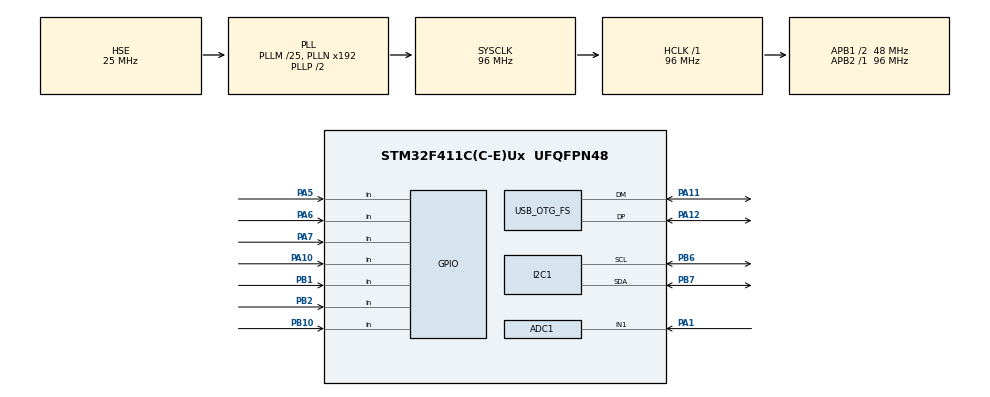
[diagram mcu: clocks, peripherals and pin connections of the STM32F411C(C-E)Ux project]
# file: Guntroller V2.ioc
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ADC1.Channel-4\#ChannelRegularConversion=ADC_CHANNEL_1
ADC1.NbrOfConversionFlag=1
ADC1.Rank-4\#ChannelRegularConversion=1
ADC1.SamplingTime-4\#ChannelRegularConversion=ADC_SAMPLETIME_3CYCLES
ADC1.master=1
Dma.I2C1_RX.0.Direction=DMA_PERIPH_TO_MEMORY
Dma.I2C1_RX.0.FIFOMode=DMA_FIFOMODE_DISABLE
Dma.I2C1_RX.0.Instance=DMA1_Stream0
Dma.I2C1_RX.0.MemDataAlignment=DMA_MDATAALIGN_BYTE
Dma.I2C1_RX.0.MemInc=DMA_MINC_ENABLE
Dma.I2C1_RX.0.Mode=DMA_NORMAL
Dma.I2C1_RX.0.PeriphDataAlignment=DMA_PDATAALIGN_BYTE
Dma.I2C1_RX.0.PeriphInc=DMA_PINC_DISABLE
Dma.I2C1_RX.0.Priority=DMA_PRIORITY_LOW
Dma.Request0=I2C1_RX
I2C1.I2C_Mode=I2C_Fast
Mcu.Family=STM32F4
Mcu.Name=STM32F411C(C-E)Ux
Mcu.Package=UFQFPN48
NVIC.DMA1_Stream0_IRQn=true\:0\:0\:false\:false\:true\:false\:true\:true
NVIC.I2C1_ER_IRQn=true\:0\:0\:false\:false\:true\:true\:true\:true
NVIC.I2C1_EV_IRQn=true\:0\:0\:false\:false\:true\:true\:true\:true
NVIC.OTG_FS_IRQn=true\:0\:0\:false\:false\:true\:false\:true\:true
NVIC.PriorityGroup=NVIC_PRIORITYGROUP_4
PA1.Signal=ADCx_IN1
PA10.GPIO_PuPd=GPIO_PULLUP
PA10.Signal=GPIO_Input
PA11.Mode=Device_Only
PA11.Signal=USB_OTG_FS_DM
PA12.Mode=Device_Only
PA12.Signal=USB_OTG_FS_DP
PA13.Mode=Serial_Wire
PA13.Signal=SYS_JTMS-SWDIO
PA14.Mode=Serial_Wire
PA14.Signal=SYS_JTCK-SWCLK
PA5.GPIO_PuPd=GPIO_PULLUP
PA5.Signal=GPIO_Input
PA6.GPIO_PuPd=GPIO_PULLUP
PA6.Signal=GPIO_Input
PA7.GPIO_PuPd=GPIO_PULLUP
PA7.Signal=GPIO_Input
PB1.GPIO_PuPd=GPIO_PULLUP
PB1.Signal=GPIO_Input
PB10.GPIO_PuPd=GPIO_PULLUP
PB10.Signal=GPIO_Input
PB2.GPIO_PuPd=GPIO_PULLUP
PB2.Signal=GPIO_Input
PB6.GPIO_Pu=GPIO_PULLUP
PB6.Mode=I2C
PB6.Signal=I2C1_SCL
PB7.GPIO_Pu=GPIO_PULLUP
PB7.Mode=I2C
PB7.Signal=I2C1_SDA
PH0\ -\ OSC_IN.Mode=HSE-External-Oscillator
PH0\ -\ OSC_IN.Signal=RCC_OSC_IN
PH1\ -\ OSC_OUT.Mode=HSE-External-Oscillator
PH1\ -\ OSC_OUT.Signal=RCC_OSC_OUT
ProjectManager.HeapSize=0x200
ProjectManager.StackSize=0x400
ProjectManager.TargetToolchain=STM32CubeIDE
RCC.48MHZClocksFreq_Value=48000000
RCC.AHBFreq_Value=96000000
RCC.APB1CLKDivider=RCC_HCLK_DIV2
RCC.APB1Freq_Value=48000000
RCC.APB1TimFreq_Value=96000000
RCC.APB2Freq_Value=96000000
RCC.APB2TimFreq_Value=96000000
RCC.CortexFreq_Value=96000000
RCC.HCLKFreq_Value=96000000
RCC.HSE_VALUE=25000000
RCC.HSI_VALUE=16000000
RCC.LSE_VALUE=32768
RCC.PLLM=25
RCC.SYSCLKFreq_VALUE=96000000
RCC.SYSCLKSource=RCC_SYSCLKSOURCE_PLLCLK
RCC.VCOOutputFreq_Value=192000000
SH.ADCx_IN1.0=ADC1_IN1,IN1
USB_DEVICE.CLASS_NAME_FS=HID
USB_DEVICE.VirtualMode=Hid
USB_DEVICE.VirtualModeFS=Hid_FS
USB_OTG_FS.VirtualMode=Device_Only
VP_USB_DEVICE_VS_USB_DEVICE_HID_FS.Mode=HID_FS
board=custom

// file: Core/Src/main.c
/* USER CODE BEGIN Header */
/**
  ******************************************************************************
  * @file           : main.c
  * @brief          : Main program body
  ******************************************************************************
  * @attention
  *
  * Copyright (c) 2025 STMicroelectronics.
  * All rights reserved.
  *
  * This software is licensed under terms that can be found in the LICENSE file
  * in the root directory of this software component.
  * If no LICENSE file comes with this software, it is provided AS-IS.
  *
  ******************************************************************************
  */
/* USER CODE END Header */
#include "main.h"
#include "usb_device.h"

/* USER CODE BEGIN Includes */
#include "mpu6050.h"
#include "usbd_hid.h"
#include "stdio.h"
#include "math.h"
/* USER CODE END Includes */

/* USER CODE BEGIN PD */
extern USBD_HandleTypeDef hUsbDeviceFS;
typedef struct {
	uint8_t buttonStatus;
    int8_t xMovement;
    int8_t yMovement;
    int8_t scroll;
} mouseReport;

mouseReport reportData = {0, 0, 0, 0};

void sendReportMouse(uint8_t buttons, int8_t x, int8_t y, int8_t scroll) {

	reportData.buttonStatus = buttons;
	reportData.xMovement = x;
	reportData.yMovement = y;
	reportData.scroll = scroll;

    USBD_HID_SendReport(&hUsbDeviceFS, (uint8_t*)&reportData, sizeof(mouseReport));
}

/* USER CODE END PD */

ADC_HandleTypeDef hadc1;

I2C_HandleTypeDef hi2c1;
DMA_HandleTypeDef hdma_i2c1_rx;

void SystemClock_Config(void);
static void MX_GPIO_Init(void);
static void MX_DMA_Init(void);
static void MX_ADC1_Init(void);
static void MX_I2C1_Init(void);

int main(void)
{

  /* MCU Configuration--------------------------------------------------------*/

  /* Reset of all peripherals, Initializes the Flash interface and the Systick. */
  HAL_Init();

  /* Configure the system clock */
  SystemClock_Config();

  /* Initialize all configured peripherals */
  MX_GPIO_Init();
  MX_DMA_Init();
  MX_ADC1_Init();
  MX_I2C1_Init();
  MX_USB_DEVICE_Init();
  /* USER CODE BEGIN 2 */
  MPU6050_init();
  extern float Gy, Gz;
  int buttonStatus = 0;

  int scrollStatus = 0;

  /* USER CODE END 2 */

  /* Infinite loop */
  while (1)
  {

    /* USER CODE BEGIN 3 */
	  MPU6050_Read_Values();
	  HAL_ADC_Start(&hadc1);
	  int leftClickStatus = HAL_GPIO_ReadPin(GPIOA, GPIO_PIN_10);
	  int rightClickStatus = HAL_GPIO_ReadPin(GPIOB, GPIO_PIN_10);
	  int precisionMode = HAL_GPIO_ReadPin(GPIOA, GPIO_PIN_7);
	  int reset = HAL_GPIO_ReadPin(GPIOA, GPIO_PIN_6);
	  int quickMode = HAL_GPIO_ReadPin(GPIOA, GPIO_PIN_5);
	  int scrollUp = HAL_GPIO_ReadPin(GPIOB, GPIO_PIN_1);
	  int scrollDown = HAL_GPIO_ReadPin(GPIOB, GPIO_PIN_2);

	  float sensitivity = HAL_ADC_GetValue(&hadc1);
	  float sens = 0.5 + ((sensitivity/4096)*5);

	  float Gz1 = Gz / sens;
	  float Gy1 = Gy / sens;

	  if(leftClickStatus == 0){
		 buttonStatus = 0x01;
	  } else if(rightClickStatus == 0){
			 buttonStatus = 0x02;
		  } else {
		  buttonStatus = 0x00;
	  }

	  if(scrollUp == 0){
		  scrollStatus = 1;
	  } else if(scrollDown == 0){
		  scrollStatus = -1;
	  }		else{
		  scrollStatus = 0;
	  }

	  if(precisionMode == 0){
		  Gy1 = Gy1*0.5;
		  Gz1 = Gz1*0.5;
	  }
	  else if(reset == 0){
		  Gy1 = 0;
		  Gz1 = 0;
	  }
	  else if(quickMode == 0){
		  Gy1 = 2*Gy1;
		  Gz1 = 2*Gz1;
	  }
	  else {
		  Gy1 = Gy1;
		  Gz1 = Gz1;
	  }

	  sendReportMouse(buttonStatus, -Gz1, Gy1, scrollStatus);

  }
  /* USER CODE END 3 */
}

void SystemClock_Config(void)
{
  RCC_OscInitTypeDef RCC_OscInitStruct = {0};
  RCC_ClkInitTypeDef RCC_ClkInitStruct = {0};

  /** Configure the main internal regulator output voltage
  */
  __HAL_RCC_PWR_CLK_ENABLE();
  __HAL_PWR_VOLTAGESCALING_CONFIG(PWR_REGULATOR_VOLTAGE_SCALE1);

  /** Initializes the RCC Oscillators according to the specified parameters
  * in the RCC_OscInitTypeDef structure.
  */
  RCC_OscInitStruct.OscillatorType = RCC_OSCILLATORTYPE_HSE;
  RCC_OscInitStruct.HSEState = RCC_HSE_ON;
  RCC_OscInitStruct.PLL.PLLState = RCC_PLL_ON;
  RCC_OscInitStruct.PLL.PLLSource = RCC_PLLSOURCE_HSE;
  RCC_OscInitStruct.PLL.PLLM = 25;
  RCC_OscInitStruct.PLL.PLLN = 192;
  RCC_OscInitStruct.PLL.PLLP = RCC_PLLP_DIV2;
  RCC_OscInitStruct.PLL.PLLQ = 4;
  if (HAL_RCC_OscConfig(&RCC_OscInitStruct) != HAL_OK)
  {
    Error_Handler();
  }

  /** Initializes the CPU, AHB and APB buses clocks
  */
  RCC_ClkInitStruct.ClockType = RCC_CLOCKTYPE_HCLK|RCC_CLOCKTYPE_SYSCLK
                              |RCC_CLOCKTYPE_PCLK1|RCC_CLOCKTYPE_PCLK2;
  RCC_ClkInitStruct.SYSCLKSource = RCC_SYSCLKSOURCE_PLLCLK;
  RCC_ClkInitStruct.AHBCLKDivider = RCC_SYSCLK_DIV1;
  RCC_ClkInitStruct.APB1CLKDivider = RCC_HCLK_DIV2;
  RCC_ClkInitStruct.APB2CLKDivider = RCC_HCLK_DIV1;

  if (HAL_RCC_ClockConfig(&RCC_ClkInitStruct, FLASH_LATENCY_3) != HAL_OK)
  {
    Error_Handler();
  }
}

static void MX_ADC1_Init(void)
{

  ADC_ChannelConfTypeDef sConfig = {0};

  /** Configure the global features of the ADC (Clock, Resolution, Data Alignment and number of conversion)
  */
  hadc1.Instance = ADC1;
  hadc1.Init.ClockPrescaler = ADC_CLOCK_SYNC_PCLK_DIV4;
  hadc1.Init.Resolution = ADC_RESOLUTION_12B;
  hadc1.Init.ScanConvMode = DISABLE;
  hadc1.Init.ContinuousConvMode = DISABLE;
  hadc1.Init.DiscontinuousConvMode = DISABLE;
  hadc1.Init.ExternalTrigConvEdge = ADC_EXTERNALTRIGCONVEDGE_NONE;
  hadc1.Init.ExternalTrigConv = ADC_SOFTWARE_START;
  hadc1.Init.DataAlign = ADC_DATAALIGN_RIGHT;
  hadc1.Init.NbrOfConversion = 1;
  hadc1.Init.DMAContinuousRequests = DISABLE;
  hadc1.Init.EOCSelection = ADC_EOC_SINGLE_CONV;
  if (HAL_ADC_Init(&hadc1) != HAL_OK)
  {
    Error_Handler();
  }

  /** Configure for the selected ADC regular channel its corresponding rank in the sequencer and its sample time.
  */
  sConfig.Channel = ADC_CHANNEL_1;
  sConfig.Rank = 1;
  sConfig.SamplingTime = ADC_SAMPLETIME_3CYCLES;
  if (HAL_ADC_ConfigChannel(&hadc1, &sConfig) != HAL_OK)
  {
    Error_Handler();
  }

}

static void MX_I2C1_Init(void)
{

  hi2c1.Instance = I2C1;
  hi2c1.Init.ClockSpeed = 400000;
  hi2c1.Init.DutyCycle = I2C_DUTYCYCLE_2;
  hi2c1.Init.OwnAddress1 = 0;
  hi2c1.Init.AddressingMode = I2C_ADDRESSINGMODE_7BIT;
  hi2c1.Init.DualAddressMode = I2C_DUALADDRESS_DISABLE;
  hi2c1.Init.OwnAddress2 = 0;
  hi2c1.Init.GeneralCallMode = I2C_GENERALCALL_DISABLE;
  hi2c1.Init.NoStretchMode = I2C_NOSTRETCH_DISABLE;
  if (HAL_I2C_Init(&hi2c1) != HAL_OK)
  {
    Error_Handler();
  }

}

static void MX_DMA_Init(void)
{

  /* DMA controller clock enable */
  __HAL_RCC_DMA1_CLK_ENABLE();

  /* DMA interrupt init */
  /* DMA1_Stream0_IRQn interrupt configuration */
  HAL_NVIC_SetPriority(DMA1_Stream0_IRQn, 0, 0);
  HAL_NVIC_EnableIRQ(DMA1_Stream0_IRQn);

}

static void MX_GPIO_Init(void)
{
  GPIO_InitTypeDef GPIO_InitStruct = {0};

  /* GPIO Ports Clock Enable */
  __HAL_RCC_GPIOH_CLK_ENABLE();
  __HAL_RCC_GPIOA_CLK_ENABLE();
  __HAL_RCC_GPIOB_CLK_ENABLE();

  /*Configure GPIO pins : PA5 PA6 PA7 PA10 */
  GPIO_InitStruct.Pin = GPIO_PIN_5|GPIO_PIN_6|GPIO_PIN_7|GPIO_PIN_10;
  GPIO_InitStruct.Mode = GPIO_MODE_INPUT;
  GPIO_InitStruct.Pull = GPIO_PULLUP;
  HAL_GPIO_Init(GPIOA, &GPIO_InitStruct);

  /*Configure GPIO pins : PB1 PB2 PB10 */
  GPIO_InitStruct.Pin = GPIO_PIN_1|GPIO_PIN_2|GPIO_PIN_10;
  GPIO_InitStruct.Mode = GPIO_MODE_INPUT;
  GPIO_InitStruct.Pull = GPIO_PULLUP;
  HAL_GPIO_Init(GPIOB, &GPIO_InitStruct);

}

void Error_Handler(void)
{
  __disable_irq();
  while (1)
  {
  }
}
